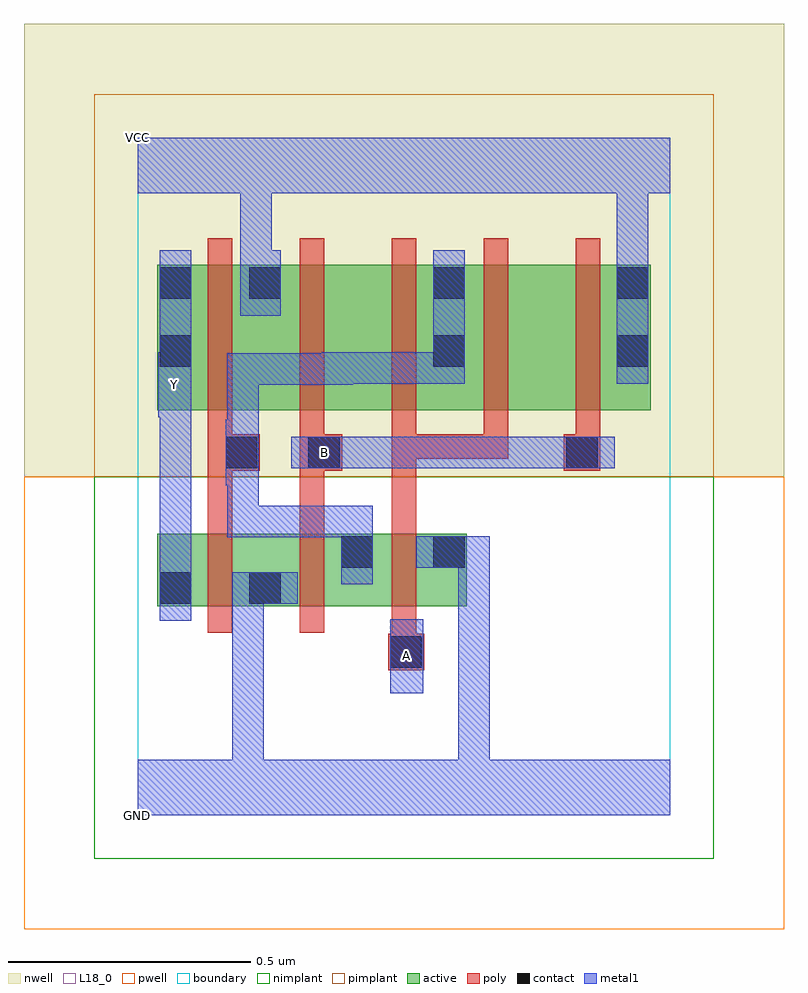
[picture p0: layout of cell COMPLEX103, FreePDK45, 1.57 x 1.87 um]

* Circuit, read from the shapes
.subckt COMPLEX103 A B GND VCC Y
M1 GND n1 Y VSUBS nfet w=0.15u l=0.05u
M2 n1 B GND VSUBS nfet w=0.15u l=0.05u
M3 GND A n1 VSUBS nfet w=0.15u l=0.05u
M4 VCC n1 Y n2 pfet w=0.3u l=0.05u
M5 n3 B VCC n2 pfet w=0.3u l=0.05u
M6 n1 A n3 n2 pfet w=0.3u l=0.05u
M7 n4 A n1 n2 pfet w=0.3u l=0.05u
M8 VCC B n4 n2 pfet w=0.3u l=0.05u
.ends

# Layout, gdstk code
import gdstk
lib = gdstk.Library(unit=1e-6, precision=1e-09)
def R(c, l, rs):  # rectangles x0, y0, x1, y1
    for r in rs: c.add(gdstk.rectangle(r[:2], r[2:], *l))
def A(c, l, x, y, w, h, nx, ny, dx, dy):  # array of equal rectangles
    R(c, l, [(x+i*dx, y+j*dy, x+i*dx+w, y+j*dy+h) for i in range(nx) for j in range(ny)])
active = (1, 0)
pwell = (2, 0)
nwell = (3, 0)
nimplant = (4, 0)
pimplant = (5, 0)
poly = (9, 0)
contact = (10, 0)
metal1 = (11, 0)
L18_0 = (18, 0)
boundary = (235, 0)

complex103 = lib.new_cell('COMPLEX103')
A(complex103, active, 0.225, 0.837, 0.075, 0.3, 3, 1, 0.38, 0)
R(complex103, active, [(0.04,0.432,0.115,0.582), (0.04,0.432,0.3,0.582), (0.225,0.432,0.49,0.582), (0.225,0.432,0.3,0.507), (0.415,0.432,0.68,0.582), (0.605,0.432,0.68,0.582), (0.415,0.495,0.49,0.582), (0.04,0.837,0.115,1.137), (0.04,0.837,0.3,1.137), (0.225,0.837,0.455,1.137), (0.455,0.837,0.68,1.137), (0.605,0.837,0.835,1.137), (0.835,0.837,1.06,1.137)])
R(complex103, pwell, [(-0.235,-0.235,1.335,0.7)])
R(complex103, nwell, [(-0.235,0.7,1.335,1.635)])
R(complex103, nimplant, [(-0.09,-0.09,1.19,0.7)])
R(complex103, pimplant, [(-0.09,0.7,1.19,1.49)])
A(complex103, poly, 0.145, 0.377, 0.05, 0.26, 3, 1, 0.19, 0)
A(complex103, poly, 0.145, 0.737, 0.05, 0.095, 5, 1, 0.19, 0)
A(complex103, poly, 0.145, 0.782, 0.05, 0.41, 5, 1, 0.19, 0)
R(complex103, poly, [(0.517,0.3,0.592,0.375), (0.525,0.325,0.575,0.427), (0.145,0.587,0.195,0.762), (0.335,0.587,0.385,0.762), (0.525,0.587,0.575,0.787), (0.145,0.712,0.252,0.787), (0.335,0.712,0.422,0.787), (0.88,0.712,0.955,0.787), (0.525,0.737,0.575,0.787), (0.525,0.737,0.765,0.787), (0.715,0.737,0.765,0.787), (0.715,0.737,0.765,0.787), (0.715,0.737,0.765,0.787)])
A(complex103, contact, 0.23, 1.067, 0.065, 0.065, 3, 1, 0.38, 0)
R(complex103, contact, [(0.522,0.305,0.587,0.37), (0.045,0.437,0.11,0.502), (0.23,0.437,0.295,0.502), (0.42,0.512,0.485,0.577), (0.61,0.512,0.675,0.577), (0.182,0.717,0.247,0.782), (0.352,0.717,0.417,0.782), (0.885,0.717,0.95,0.782), (0.045,0.927,0.11,0.992), (0.61,0.927,0.675,0.992), (0.99,0.927,1.055,0.992), (0.045,1.067,0.11,1.132)])
R(complex103, metal1, [(0,0,1.1,0.115), (0.195,0.05,0.26,0.502), (0.662,0.05,0.727,0.577), (0.522,0.252,0.59,0.405), (0.045,0.402,0.11,0.537), (0.195,0.437,0.26,0.502), (0.195,0.437,0.26,0.502), (0.195,0.437,0.26,0.502), (0.195,0.437,0.26,0.502), (0.195,0.437,0.26,0.502), (0.195,0.437,0.26,0.502), (0.195,0.437,0.33,0.502), (0.045,0.472,0.11,0.887), (0.42,0.477,0.485,0.64), (0.575,0.512,0.727,0.577), (0.662,0.512,0.727,0.577), (0.662,0.512,0.727,0.577), (0.662,0.512,0.727,0.577), (0.662,0.512,0.727,0.577), (0.662,0.512,0.727,0.577), (0.662,0.512,0.727,0.577), (0.185,0.575,0.25,0.64), (0.185,0.575,0.445,0.64), (0.185,0.575,0.25,0.747), (0.38,0.575,0.445,0.64), (0.38,0.575,0.485,0.64), (0.182,0.682,0.25,0.747), (0.182,0.682,0.247,0.817), (0.185,0.682,0.25,0.747), (0.185,0.682,0.25,0.955), (0.317,0.717,0.452,0.782), (0.387,0.717,0.46,0.782), (0.395,0.717,0.46,0.782), (0.395,0.717,0.607,0.782), (0.542,0.717,0.607,0.782), (0.542,0.717,0.617,0.782), (0.552,0.717,0.617,0.782), (0.552,0.717,0.745,0.782), (0.68,0.717,0.745,0.782), (0.68,0.717,0.822,0.782), (0.757,0.717,0.822,0.782), (0.757,0.717,0.915,0.782), (0.85,0.717,0.985,0.782), (0.042,0.822,0.11,0.957), (0.185,0.89,0.25,0.955), (0.185,0.89,0.445,0.955), (0.38,0.89,0.445,0.957), (0.045,0.892,0.11,0.957), (0.045,0.892,0.11,1.167), (0.38,0.892,0.46,0.957), (0.395,0.892,0.46,0.957), (0.395,0.892,0.597,0.957), (0.532,0.892,0.597,0.957), (0.532,0.892,0.675,0.957), (0.61,0.892,0.675,1.167), (0.99,0.892,1.055,1.167), (0.212,1.032,0.295,1.167), (0.212,1.102,0.277,1.305), (0.99,1.102,1.055,1.167), (0.99,1.102,1.055,1.167), (0.99,1.102,1.055,1.35), (0.212,1.24,0.277,1.305), (0.212,1.24,0.277,1.35), (0,1.285,1.1,1.4)])
R(complex103, L18_0, [(0,0,1.1,0.115), (0.195,0.05,0.26,0.502), (0.662,0.05,0.727,0.577), (0.522,0.252,0.59,0.405), (0.522,0.297,0.587,0.362), (0.045,0.402,0.11,0.537), (0.195,0.437,0.26,0.502), (0.195,0.437,0.26,0.502), (0.195,0.437,0.26,0.502), (0.195,0.437,0.26,0.502), (0.195,0.437,0.26,0.502), (0.195,0.437,0.26,0.502), (0.195,0.437,0.33,0.502), (0.045,0.472,0.11,0.887), (0.575,0.512,0.727,0.577), (0.662,0.512,0.727,0.577), (0.662,0.512,0.727,0.577), (0.662,0.512,0.727,0.577), (0.662,0.512,0.727,0.577), (0.662,0.512,0.727,0.577), (0.662,0.512,0.727,0.577), (0.317,0.717,0.452,0.782), (0.352,0.717,0.417,0.782), (0.387,0.717,0.46,0.782), (0.395,0.717,0.46,0.782), (0.395,0.717,0.607,0.782), (0.542,0.717,0.607,0.782), (0.542,0.717,0.617,0.782), (0.552,0.717,0.617,0.782), (0.552,0.717,0.745,0.782), (0.68,0.717,0.745,0.782), (0.68,0.717,0.822,0.782), (0.757,0.717,0.822,0.782), (0.757,0.717,0.915,0.782), (0.85,0.717,0.985,0.782), (0.042,0.822,0.11,0.957), (0.042,0.857,0.107,0.922), (0.045,0.892,0.11,1.167), (0.045,0.892,0.11,0.957), (0.99,0.892,1.055,1.167), (0.212,1.032,0.295,1.167), (0.212,1.102,0.277,1.305), (0.99,1.102,1.055,1.167), (0.99,1.102,1.055,1.167), (0.99,1.102,1.055,1.35), (0.212,1.24,0.277,1.305), (0.212,1.24,0.277,1.35), (0,1.285,1.1,1.4)])
R(complex103, boundary, [(0,0,1.1,1.4)])
complex103.add(gdstk.Label('A', (0.555,0.33), layer=11, texttype=0))
complex103.add(gdstk.Label('B', (0.385,0.75), layer=11, texttype=0))
complex103.add(gdstk.Label('Y', (0.075,0.89), layer=11, texttype=0))
complex103.add(gdstk.Label('VCC', (0,1.4), layer=11, texttype=0))
complex103.add(gdstk.Label('GND', (0,0), layer=11, texttype=0))

lib.write_gds('COMPLEX103.gds')
